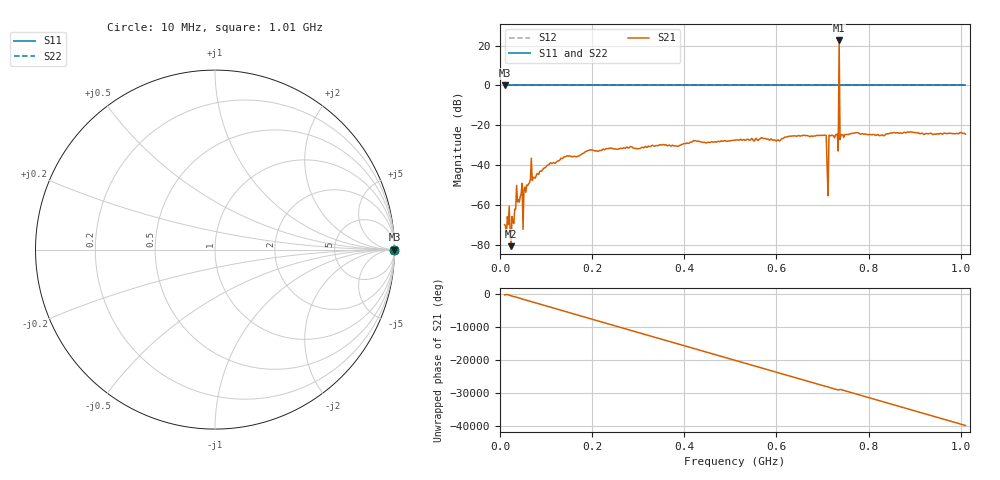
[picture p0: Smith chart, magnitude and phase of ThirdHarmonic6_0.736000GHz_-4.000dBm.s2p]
! 8/16/2025 12:37:07 AM
! C:\ANRITSUVNA\TEMP\TEMP.S2P
! CHANNEL.1
! TR.MEASUREMENT
! RAW.DATA
! RF.CORRECTION.OFF
! AVERAGING.OFF
! IF.BANDWIDTH: 5KHZ
! SWEEPTYPE:  FREQ.SWEEP(Linear)
! Reference Plane Port Info
! PORT:  PORT1  PORT2
! DISTANCE:  0  m  0  m
! TIME:  0  s  0  s
! PHASE.OFFSET:  0  deg.  0  deg.
! LOSS:  0  dB  0  dB
! REF.LOSS:  0  dB  0  dB
! REF.FREQ:  0  Hz  0  Hz
! Power Info
! POWER:  -20  dBm  -20  dBm
! EFF.POWER:  -20  dBm  -20  dBm
! SOURCE.ATTEN:  0  dB  0  dB
! TEST.ATTEN:  0  dB  0  dB
# GHZ S RI R 50.0
! FREQ.GHZ  S11RE  S11IM  S21RE  S21IM  S12RE  S12IM  S22RE  S22IM
!; PortSelection: Port_12
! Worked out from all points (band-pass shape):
!   501 points, 10 MHz to 1.01 GHz, reference 50 ohm
!   highest |S21| = 22.56 dB at 736 MHz (marker M1); lowest = -80.6 dB at 24 MHz (marker M2)
!   |S21| within 3 dB of the highest: 735.8918 MHz to 736.1206 MHz (228.8 kHz wide, 0.0311 % of centre)
!   lowest |S11| = 0.0 dB at 10 MHz (marker M3)
!   |S11| at or under -10 dB: nowhere
!   |S22| runs from 0.0 to 0.0 dB; largest |S21 - S12| = 14
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0.01  1 0  -0.000302 -0.000106  1 0  1 0
0.024  1 0  -2.8e-05 -8.85e-05  1 0  1 0
0.026  1 0  -0.000124 -0.000497  1 0  1 0
0.036  1 0  -0.00261 -0.00172  1 0  1 0
0.054  1 0  -0.00282 -0.000182  1 0  1 0
0.056  1 0  -0.000444 0.00204  1 0  1 0
0.07  1 0  -0.00153 -0.00382  1 0  1 0
0.178  1 0  -0.0189 -0.00394  1 0  1 0
0.344  1 0  0.0302 -0.00726  1 0  1 0
0.51  1 0  -0.0395 0.015  1 0  1 0
0.678  1 0  -0.0236 -0.0475  1 0  1 0
0.704  1 0  0.00594 -0.0562  1 0  1 0
0.708  1 0  -0.0238 0.0502  1 0  1 0
0.714  1 0  -0.0358 -0.0439  1 0  1 0
0.718  1 0  0.0165 0.0518  1 0  1 0
0.73  1 0  0.0391 -0.0434  1 0  1 0
0.732  1 0  -0.0384 -0.0467  1 0  1 0
0.736  1 0  -10.7 -8.108  1 0  1 0
0.74  1 0  -0.00247 -0.0576  1 0  1 0
0.742  1 0  -0.058 -0.00684  1 0  1 0
0.844  1 0  0.0446 0.0426  1 0  1 0
1.01  1 0  -0.0581 -0.0145  1 0  1 0
